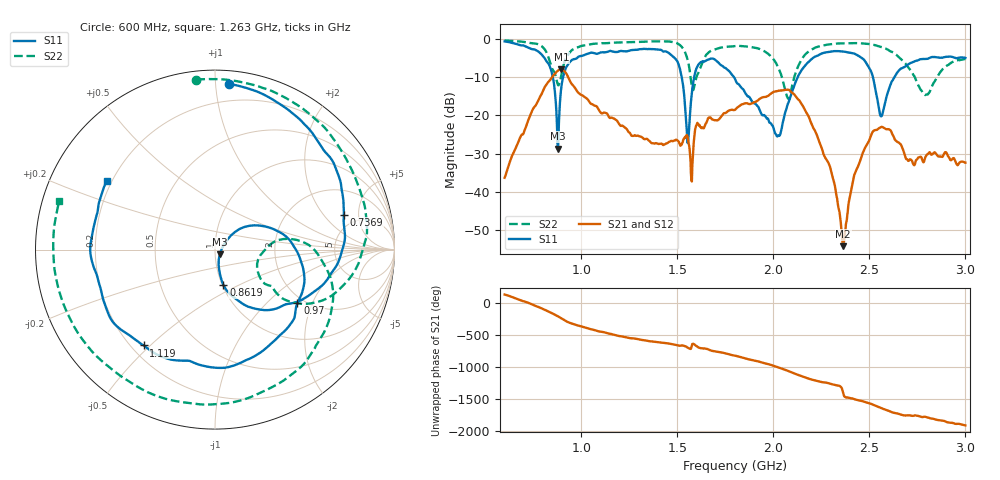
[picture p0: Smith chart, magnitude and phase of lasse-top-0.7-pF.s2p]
#  HZ  S  RI  R  50.00
! Rohde & Schwarz ZVB8 2Ports - Version 2.81 - 1145.1010k08 SN: 100113
! Date: 2016-03-31 03:39:33
! Measurements: S11 S21 S12 S22
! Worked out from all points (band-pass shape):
!   1000 points, 600 MHz to 3 GHz, reference 50 ohm
!   highest |S21| = -7.94 dB at 895.5 MHz (marker M1); lowest = -54.2 dB at 2.363 GHz (marker M2)
!   |S21| within 3 dB of the highest: 834 MHz to 939.2 MHz (105.2 MHz wide, 11.9 % of centre)
!   lowest |S11| = -28.7 dB at 876.3 MHz (marker M3), VSWR 1.08, Z = 52.6 - j2.71 ohm
!   |S11| at or under -10 dB: 1.522 GHz to 1.587 GHz (64.95 MHz wide, 4.18 % of centre); 1.795 GHz to 2.127 GHz (332 MHz wide, 16.9 % of centre); 2.518 GHz to 2.631 GHz (112.2 MHz wide, 4.36 % of centre)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
!   |S22| runs from -15.7 to -0.4 dB; largest |S21 - S12| = 0.0018
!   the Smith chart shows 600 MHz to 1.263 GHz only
!   S11 on the Smith chart (normalised r, x): 600 MHz: 0.08, +1.08; 736.9 MHz: 3.81, +3.30; 861.9 MHz: 1.01, -0.42; 970 MHz: 1.84, -1.56; 1.119 GHz: 0.25, -0.48; 1.263 GHz: 0.18, +0.28
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6e8  0.0766 0.9226  -0.0113 0.0102  -0.0113 0.0103  -0.1042 0.9474
7.369369e8  0.7175 0.1941  0.1041 -0.014  0.1038 -0.015  0.7692 0.4292
8.618619e8  0.0472 -0.1983  -0.3477 -0.0118  -0.3473 -0.0122  0.2924 -0.1972
8.762763e8  0.0264 -0.0257  -0.3548 0.1375  -0.3544 0.1372  0.2346 -0.103
8.954955e8  0.1931 0.1329  -0.2276 0.3299  -0.2281 0.3292  0.3312 0.0445
9.6997e8  0.4593 -0.2977  0.2036 0.088  0.2033 0.088  0.6163 -0.443
1.001201e9  0.3634 -0.4755  0.1843 -0.00773  0.184 -0.00738  0.4774 -0.655
1.118919e9  -0.3974 -0.5342  -0.00692 -0.1084  -0.00731 -0.1084  -0.446 -0.7552
1.263063e9  -0.6015 0.3846  -0.0535 0.00678  -0.0534 0.00689  -0.867 0.2708
1.4e9  0.3399 0.6408  -0.0147 0.0397  -0.0148 0.0397  -0.074 0.9246
1.503303e9  0.4317 -0.2186  0.0229 0.0402  0.0227 0.0402  0.7021 0.4993
1.553754e9  -0.0423 -0.00924  0.0459 0.0217  0.0459 0.0215  0.5246 -0.0379
1.616216e9  0.4221 0.2281  0.0689 0.0272  0.0689 0.0272  0.2753 0.2914
1.801201e9  -0.2315 -0.183  -0.022 -0.1166  -0.0221 -0.1166  0.6591 -0.4621
2.024625e9  0.0533 -0.00706  0.0454 0.2035  0.0452 0.2033  -0.3741 -0.2077
2.07988e9  -0.0683 -0.1331  0.2073 0.0595  0.2069 0.0599  -0.0922 -0.1355
2.2e9  -0.3518 0.4189  -0.0318 -0.0685  -0.0316 -0.0685  -0.6385 -0.3462
2.363363e9  0.63 0.2646  0.00154 0.00118  0.00153 0.00121  -0.4402 0.7559
2.481081e9  0.2323 -0.4365  -0.013 -0.0369  -0.0129 -0.0368  0.377 0.778
2.601201e9  0.1606 0.1482  -0.027 0.06  -0.0271 0.0599  0.7026 0.0926
2.81982e9  -0.11 -0.5615  0.0314 -0.00223  0.0313 -0.00215  0.2227 0.0035
3e9  -0.5108 0.2373  -0.00958 -0.022  -0.00957 -0.022  0.3224 -0.4416
